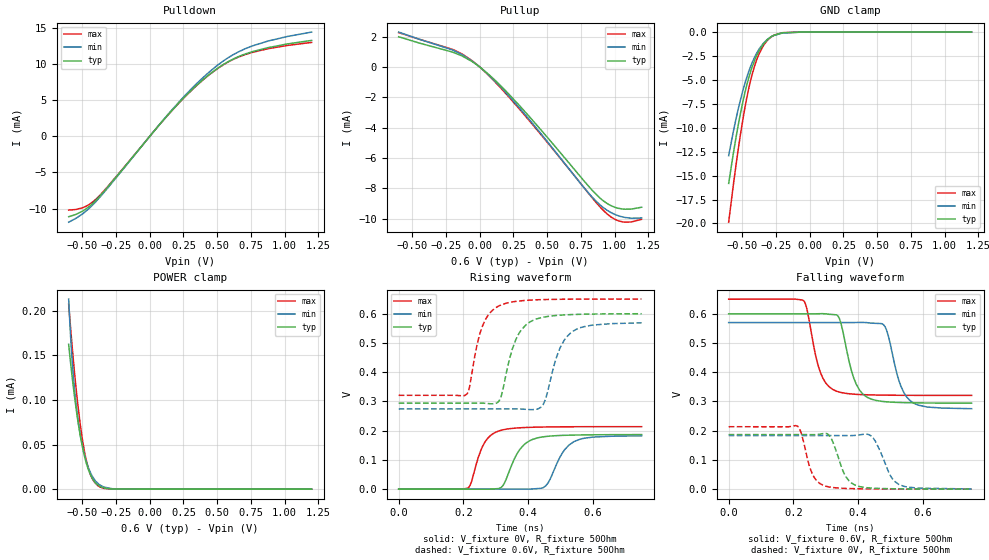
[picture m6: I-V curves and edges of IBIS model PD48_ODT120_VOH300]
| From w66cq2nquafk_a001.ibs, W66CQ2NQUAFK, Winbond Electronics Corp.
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[Model]   PD48_ODT120_VOH300
Model_type   I/O
Polarity   Non-Inverting
Enable   Active-Low
Vinl = 0.08
Vinh = 0.22
Vmeas = 0.15
Vref = 0
Cref = 0pF
Rref = 120
|   typ   min   max
C_comp   0.85pF   0.80pF   0.90pF
[Voltage Range]   0.6   0.57   0.65
[Temperature Range]   25   105   -40
[Pullup Reference]   0.6   0.57   0.65
[Pulldown Reference]   0   0   0
[Power Clamp Reference]   0.6   0.57   0.65
[GND Clamp Reference]   0   0   0
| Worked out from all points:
|   slope of the pulldown table from 0 to 0.09 V, typ, clamps not added: 44.9 ohm
|   slope of the pullup table from 0 to 0.09 V, typ, clamps not added: 132 ohm
|   GND clamp passes 1 mA (typ) near -0.33 V on its own axis
|   falling waveform, V_fixture 0.6V, R_fixture 50Ohm: 20-80 % time 43ps typ, 43.4ps min, 40.7ps max; typ from 0.6 V to 0.294 V
|   rising waveform, V_fixture 0V, R_fixture 50Ohm: 20-80 % time 51.5ps typ, 53.2ps min, 43.8ps max; typ from 0 V to 0.187 V
|   rising waveform, V_fixture 0.6V, R_fixture 50Ohm: 20-80 % time 50.5ps typ, 51.5ps min, 45.5ps max; typ from 0.294 V to 0.6 V
|   falling waveform, V_fixture 0V, R_fixture 50Ohm: 20-80 % time 39.6ps typ, 44.2ps min, 33.6ps max; typ from 0.187 V to 0 V
[Pulldown]
|   Voltage   I(typ)   I(min)   I(max)
-600mV    -11.13mA   -11.89mA   -10.21mA
-496.6mV  -10.35mA   -10.73mA   -9.888mA
-448.6mV  -9.723mA   -9.972mA   -9.445mA
-401.4mV  -8.915mA   -9.094mA   -8.759mA
-311.6mV  -7.042mA   -7.168mA   -6.969mA
157.5mV   3.442mA    3.519mA    3.435mA
345.8mV   7.039mA    7.272mA    7.015mA
510.9mV   9.544mA    9.983mA    9.505mA
626.1mV   10.8mA     11.41mA    10.74mA
761.2mV   11.75mA    12.55mA    11.65mA
1.012V    12.79mA    13.82mA    12.59mA
1.2V      13.31mA    14.47mA    13.04mA
[GND Clamp]
|   Voltage   I(typ)   I(min)   I(max)
-600mV    -15.82mA   -12.92mA   -19.87mA
-548.4mV  -11.24mA   -9.252mA   -14.19mA
-514.2mV  -8.606mA   -7.167mA   -10.84mA
-480.6mV  -6.389mA   -5.41mA    -7.978mA
-443.4mV  -4.4mA     -3.82mA    -5.397mA
-404.3mV  -2.831mA   -2.522mA   -3.374mA
-373.1mV  -1.921mA   -1.738mA   -2.237mA
-339.3mV  -1.188mA   -1.122mA   -1.335mA
-281.4mV  -442.8uA   -463.6uA   -475.5uA
-200.3mV  -75.78uA   -100.2uA   -63.35uA
-59.4mV   -1.302uA   -4.057uA   -513.1nA
1.2V      0A         0A         0A
[Pullup]
|   Voltage   I(typ)   I(min)   I(max)
-600mV    1.99mA     2.297mA    2.262mA
-200.3mV  973.3uA    1.115mA    1.156mA
-59.4mV   372.2uA    405.6uA    431.6uA
70.89mV   -527.2uA   -562.6uA   -597.8uA
228.1mV   -1.907mA   -2.024mA   -2.098mA
443.4mV   -4.042mA   -4.286mA   -4.349mA
783.6mV   -7.628mA   -8.077mA   -8.08mA
918.4mV   -8.844mA   -9.29mA    -9.479mA
997mV     -9.241mA   -9.71mA    -10.03mA
1.06V     -9.372mA   -9.899mA   -10.22mA
1.123V    -9.377mA   -9.98mA    -10.23mA
1.2V      -9.254mA   -9.961mA   -10.05mA
[POWER Clamp]
|   Voltage   I(typ)   I(min)   I(max)
-600mV    162.4uA    213.1uA    207.7uA
-593.2mV  152.2uA    191.7uA    194.5uA
-581.2mV  135.3uA    159.9uA    172.3uA
-564.9mV  114uA      126uA      144uA
-542.4mV  87.72uA    91.53uA    109.2uA
-513.4mV  59.37uA    60.75uA    71.47uA
-480.4mV  35.4uA     37.14uA    40.06uA
-451.8mV  21.06uA    23.06uA    22.18uA
-415.2mV  9.807uA    12.21uA    9.246uA
-373.1mV  3.653uA    5.069uA    2.961uA
-276.8mV  182nA      500.4nA    54.33nA
1.2V      0A         0A         0A
[Ramp]
R_load = 50
|   typ   min   max
dV/dt_r 1.1194E-01/5.1442E-11   1.0949E-01/5.2819E-11   1.2818E-01/4.3600E-11
dV/dt_f 1.8350E-01/4.2837E-11   1.7680E-01/4.3299E-11   1.9746E-01/4.0637E-11
[Falling Waveform]
V_fixture = 0.6V
V_fixture_min = 0.57V
V_fixture_max = 0.65V
R_fixture = 50Ohm
C_fixture = 0F
|   Time   V(typ)   V(min)   V(max)
0s        600mV      570mV      650mV
232ps     600mV      570mV      644.4mV
283ps     600.4mV    570mV      399.8mV
334ps     596mV      570mV      334.8mV
394ps     358.8mV    570.3mV    324.5mV
472ps     300.6mV    566.5mV    321.8mV
493ps     298.5mV    524.3mV    321.6mV
532ps     296.5mV    351.5mV    321.2mV
560ps     295.7mV    303.1mV    321.1mV
750ps     294.2mV    275.3mV    320.9mV
[Rising Waveform]
V_fixture = 0V
V_fixture_min = 0V
V_fixture_max = 0V
R_fixture = 50Ohm
C_fixture = 0F
|   Time   V(typ)   V(min)   V(max)
0s        4.822uV    21.77uV    954.9nV
213ps     3.085uV    21.77uV    3.104mV
263ps     2.212uV    22.13uV    154.6mV
320ps     9.931mV    18.7uV     202.4mV
372ps     132.7mV    47.47uV    209.6mV
414ps     170.3mV    739.1uV    211.6mV
454ps     180mV      11.39mV    212.6mV
506ps     183.8mV    124.8mV    213.2mV
541ps     184.9mV    162.4mV    213.4mV
750ps     186.6mV    182.5mV    213.6mV
[Rising Waveform]
V_fixture = 0.6V
V_fixture_min = 0.57V
V_fixture_max = 0.65V
R_fixture = 50Ohm
C_fixture = 0F
|   Time   V(typ)   V(min)   V(max)
0s        294mV      274.2mV    320.9mV
210ps     294mV      274.2mV    324.6mV
258ps     294.1mV    274.2mV    555.9mV
320ps     332.6mV    274.2mV    631.5mV
361ps     509.4mV    274.3mV    641.9mV
405ps     571.5mV    272mV      646.3mV
446ps     587.8mV    288.7mV    648.1mV
493ps     594.5mV    468.9mV    649.2mV
533ps     596.9mV    536.1mV    649.6mV
750ps     599.8mV    568.6mV    650mV
[Falling Waveform]
|Gnd
V_fixture = 0V
V_fixture_min = 0V
V_fixture_max = 0V
R_fixture = 50Ohm
C_fixture = 0F
|   Time   V(typ)   V(min)   V(max)
0s        186.7mV    183.5mV    213.7mV
213ps     186.7mV    183.5mV    215.4mV
258ps     186.5mV    183.5mV    52.92mV
300ps     190.7mV    183.5mV    10.1mV
317ps     172.8mV    183.5mV    6.319mV
361ps     44.19mV    183.4mV    2.573mV
394ps     12.3mV     184.4mV    1.488mV
447ps     3.346mV    173.8mV    671.6uV
526ps     1.109mV    15.85mV    191.1uV
750ps     71.98uV    596.9uV    -1.967uV
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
